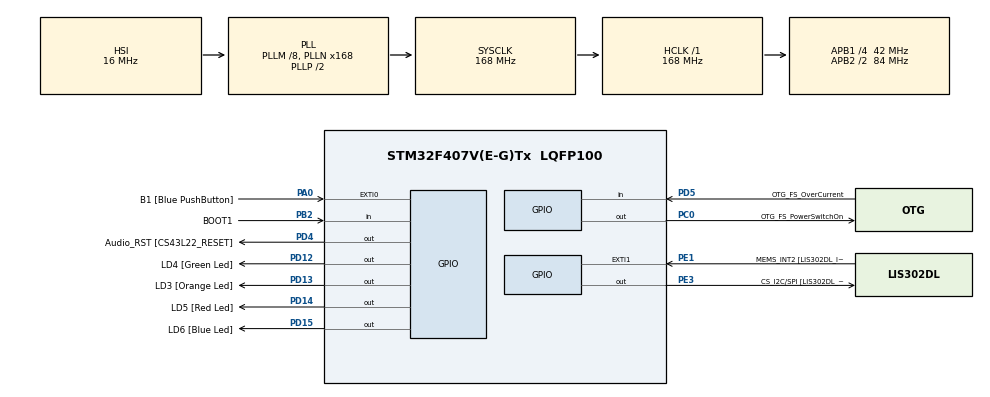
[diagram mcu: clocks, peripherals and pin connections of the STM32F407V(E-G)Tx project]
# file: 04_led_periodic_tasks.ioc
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Mcu.Family=STM32F4
Mcu.Name=STM32F407V(E-G)Tx
Mcu.Package=LQFP100
NVIC.PriorityGroup=NVIC_PRIORITYGROUP_4
NVIC.TIM6_DAC_IRQn=true\:0\:0\:false\:false\:true\:false\:true\:true
NVIC.TimeBase=TIM6_DAC_IRQn
NVIC.TimeBaseIP=TIM6
PA0-WKUP.GPIO_Label=B1 [Blue PushButton]
PA0-WKUP.Signal=GPXTI0
PA10.GPIO_Label=OTG_FS_ID
PA10.GPIO_Mode=GPIO_MODE_AF_PP
PA10.GPIO_PuPd=GPIO_NOPULL
PA10.GPIO_Speed=GPIO_SPEED_FREQ_LOW
PA10.Signal=USB_OTG_FS_ID
PA11.GPIO_Label=OTG_FS_DM
PA11.GPIO_Mode=GPIO_MODE_AF_PP
PA11.GPIO_PuPd=GPIO_NOPULL
PA11.GPIO_Speed=GPIO_SPEED_FREQ_LOW
PA11.Signal=USB_OTG_FS_DM
PA12.GPIO_Label=OTG_FS_DP
PA12.GPIO_Mode=GPIO_MODE_AF_PP
PA12.GPIO_PuPd=GPIO_NOPULL
PA12.GPIO_Speed=GPIO_SPEED_FREQ_LOW
PA12.Signal=USB_OTG_FS_DP
PA13.GPIO_Label=SWDIO
PA13.Signal=SYS_JTMS-SWDIO
PA14.GPIO_Label=SWCLK
PA14.Signal=SYS_JTCK-SWCLK
PA4.GPIO_Label=I2S3_WS [CS43L22_LRCK]
PA4.GPIO_Mode=GPIO_MODE_AF_PP
PA4.GPIO_PuPd=GPIO_NOPULL
PA4.GPIO_Speed=GPIO_SPEED_FREQ_LOW
PA4.Signal=I2S3_WS
PA5.GPIO_Label=SPI1_SCK [LIS302DL_SCL/SPC]
PA5.GPIO_Mode=GPIO_MODE_AF_PP
PA5.GPIO_PuPd=GPIO_NOPULL
PA5.GPIO_Speed=GPIO_SPEED_FREQ_LOW
PA5.Signal=SPI1_SCK
PA6.GPIO_Label=SPI1_MISO [LIS302DL_SDO]
PA6.GPIO_Mode=GPIO_MODE_AF_PP
PA6.GPIO_PuPd=GPIO_NOPULL
PA6.GPIO_Speed=GPIO_SPEED_FREQ_LOW
PA6.Signal=SPI1_MISO
PA7.GPIO_Label=SPI1_MOSI [LIS302DL_SDA/SDI/SDO]
PA7.GPIO_Mode=GPIO_MODE_AF_PP
PA7.GPIO_PuPd=GPIO_NOPULL
PA7.GPIO_Speed=GPIO_SPEED_FREQ_LOW
PA7.Signal=SPI1_MOSI
PA9.GPIO_Label=VBUS_FS
PA9.GPIO_Mode=GPIO_MODE_INPUT
PA9.GPIO_PuPd=GPIO_NOPULL
PA9.Signal=USB_OTG_FS_VBUS
PB10.GPIO_Label=CLK_IN [MP45DT02_CLK]
PB10.GPIO_Mode=GPIO_MODE_AF_PP
PB10.GPIO_PuPd=GPIO_NOPULL
PB10.GPIO_Speed=GPIO_SPEED_FREQ_LOW
PB10.Signal=I2S2_CK
PB2.GPIO_Label=BOOT1
PB2.GPIO_Mode=GPIO_MODE_INPUT
PB2.GPIO_PuPd=GPIO_NOPULL
PB2.Signal=GPIO_Input
PB3.GPIO_Label=SWO
PB3.Signal=SYS_JTDO-SWO
PB6.GPIO_Label=Audio_SCL [CS43L22_SCL]
PB6.GPIO_Mode=GPIO_MODE_AF_OD
PB6.GPIO_PuPd=GPIO_NOPULL
PB6.GPIO_Speed=GPIO_SPEED_FREQ_LOW
PB6.Signal=I2C1_SCL
PB9.GPIO_Label=Audio_SDA [CS43L22_SDA]
PB9.GPIO_Mode=GPIO_MODE_AF_OD
PB9.GPIO_PuPd=GPIO_NOPULL
PB9.GPIO_Speed=GPIO_SPEED_FREQ_LOW
PB9.Signal=I2C1_SDA
PC0.GPIO_Label=OTG_FS_PowerSwitchOn
PC0.GPIO_PuPd=GPIO_NOPULL
PC0.GPIO_Speed=GPIO_SPEED_FREQ_LOW
PC0.PinState=GPIO_PIN_SET
PC0.Signal=GPIO_Output
PC10.GPIO_Label=I2S3_SCK [CS43L22_SCLK]
PC10.GPIO_Mode=GPIO_MODE_AF_PP
PC10.GPIO_PuPd=GPIO_NOPULL
PC10.GPIO_Speed=GPIO_SPEED_FREQ_LOW
PC10.Signal=I2S3_CK
PC12.GPIO_Label=I2S3_SD [CS43L22_SDIN]
PC12.GPIO_Mode=GPIO_MODE_AF_PP
PC12.GPIO_PuPd=GPIO_NOPULL
PC12.GPIO_Speed=GPIO_SPEED_FREQ_LOW
PC12.Signal=I2S3_SD
PC14-OSC32_IN.GPIO_Label=PC14-OSC32_IN
PC14-OSC32_IN.Signal=RCC_OSC32_IN
PC15-OSC32_OUT.GPIO_Label=PC15-OSC32_OUT
PC15-OSC32_OUT.Signal=RCC_OSC32_OUT
PC3.GPIO_Label=PDM_OUT [MP45DT02_DOUT]
PC3.GPIO_Mode=GPIO_MODE_AF_PP
PC3.GPIO_PuPd=GPIO_NOPULL
PC3.GPIO_Speed=GPIO_SPEED_FREQ_LOW
PC3.Signal=I2S2_SD
PC7.GPIO_Label=I2S3_MCK [CS43L22_MCLK]
PC7.GPIO_Mode=GPIO_MODE_AF_PP
PC7.GPIO_PuPd=GPIO_NOPULL
PC7.GPIO_Speed=GPIO_SPEED_FREQ_LOW
PC7.Signal=I2S3_MCK
PD12.GPIO_Label=LD4 [Green Led]
PD12.GPIO_PuPd=GPIO_NOPULL
PD12.GPIO_Speed=GPIO_SPEED_FREQ_LOW
PD12.Signal=GPIO_Output
PD13.GPIO_Label=LD3 [Orange Led]
PD13.GPIO_PuPd=GPIO_NOPULL
PD13.GPIO_Speed=GPIO_SPEED_FREQ_LOW
PD13.Signal=GPIO_Output
PD14.GPIO_Label=LD5 [Red Led]
PD14.GPIO_PuPd=GPIO_NOPULL
PD14.GPIO_Speed=GPIO_SPEED_FREQ_LOW
PD14.Signal=GPIO_Output
PD15.GPIO_Label=LD6 [Blue Led]
PD15.GPIO_PuPd=GPIO_NOPULL
PD15.GPIO_Speed=GPIO_SPEED_FREQ_LOW
PD15.Signal=GPIO_Output
PD4.GPIO_Label=Audio_RST [CS43L22_RESET]
PD4.GPIO_PuPd=GPIO_NOPULL
PD4.GPIO_Speed=GPIO_SPEED_FREQ_LOW
PD4.Signal=GPIO_Output
PD5.GPIO_Label=OTG_FS_OverCurrent
PD5.GPIO_Mode=GPIO_MODE_INPUT
PD5.GPIO_PuPd=GPIO_NOPULL
PD5.Signal=GPIO_Input
PE1.GPIO_Label=MEMS_INT2 [LIS302DL_INT2]
PE1.GPIO_ModeDefaultEXTI=GPIO_MODE_EVT_RISING
PE1.GPIO_PuPd=GPIO_NOPULL
PE1.Signal=GPXTI1
PE3.GPIO_Label=CS_I2C/SPI [LIS302DL_CS_I2C/SPI]
PE3.GPIO_PuPd=GPIO_NOPULL
PE3.GPIO_Speed=GPIO_SPEED_FREQ_LOW
PE3.Signal=GPIO_Output
PH0-OSC_IN.GPIO_Label=PH0-OSC_IN
PH0-OSC_IN.Signal=RCC_OSC_IN
PH1-OSC_OUT.GPIO_Label=PH1-OSC_OUT
PH1-OSC_OUT.Signal=RCC_OSC_OUT
ProjectManager.HeapSize=0x200
ProjectManager.StackSize=0x400
ProjectManager.TargetToolchain=STM32CubeIDE
RCC.48MHZClocksFreq_Value=48000000
RCC.AHBFreq_Value=168000000
RCC.APB1CLKDivider=RCC_HCLK_DIV4
RCC.APB1Freq_Value=42000000
RCC.APB1TimFreq_Value=84000000
RCC.APB2CLKDivider=RCC_HCLK_DIV2
RCC.APB2Freq_Value=84000000
RCC.APB2TimFreq_Value=168000000
RCC.CortexFreq_Value=168000000
RCC.HCLKFreq_Value=168000000
RCC.HSE_VALUE=8000000
RCC.HSI_VALUE=16000000
RCC.LSE_VALUE=32768
RCC.PLLM=8
RCC.PLLN=168
RCC.PLLQ=7
RCC.SYSCLKFreq_VALUE=168000000
RCC.SYSCLKSource=RCC_SYSCLKSOURCE_PLLCLK
RCC.VCOOutputFreq_Value=336000000
VP_SYS_VS_tim6.Mode=TIM6
board=STM32F407G-DISC1

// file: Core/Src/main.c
/* USER CODE BEGIN Header */
/**
  ******************************************************************************
  * @file           : main.c
  * @brief          : Main program body
  ******************************************************************************
  * @attention
  *
  * Copyright (c) 2024 STMicroelectronics.
  * All rights reserved.
  *
  * This software is licensed under terms that can be found in the LICENSE file
  * in the root directory of this software component.
  * If no LICENSE file comes with this software, it is provided AS-IS.
  *
  ******************************************************************************
  */
/* USER CODE END Header */
#include "main.h"

/* USER CODE BEGIN Includes */
#include "FreeRTOS.h"
#include "task.h"
/* USER CODE END Includes */

/* USER CODE BEGIN PD */
#define DWT_CTRL             (*(volatile uint32_t*)0xE0001000)
/* USER CODE END PD */

void SystemClock_Config(void);
static void MX_GPIO_Init(void);
/* USER CODE BEGIN PFP */

static void led_green_handler(void* parameters);
static void led_orange_handler(void* parameters);
static void led_red_handler(void* parameters);

extern void SEGGER_UART_init(uint32_t);
/* USER CODE END PFP */

int main(void)
{
  /* USER CODE BEGIN 1 */
  TaskHandle_t task1_handle;
  TaskHandle_t task2_handle;
  TaskHandle_t task3_handle;

  BaseType_t status;
  /* USER CODE END 1 */

  /* MCU Configuration--------------------------------------------------------*/

  /* Reset of all peripherals, Initializes the Flash interface and the Systick. */
  HAL_Init();

  /* Configure the system clock */
  SystemClock_Config();

  /* Initialize all configured peripherals */
  MX_GPIO_Init();
  /* USER CODE BEGIN 2 */

  SEGGER_UART_init(250000);

  // Enable the CYCCNT counter register - For SystemView Timestamp
  // Cortex-M4 Techinal Reference Manual page: 91
  DWT_CTRL |= (1 << 0);

  SEGGER_SYSVIEW_Conf();

  status = xTaskCreate(led_green_handler, "LED Green task", 200, NULL, 2, &task1_handle);
  configASSERT(status==pdPASS);

  status = xTaskCreate(led_red_handler, "LED Red task", 200, NULL, 2, &task2_handle);
  configASSERT(status==pdPASS);

  status = xTaskCreate(led_orange_handler, "LED Orange task", 200, NULL, 2, &task3_handle);
  configASSERT(status==pdPASS);

  vTaskStartScheduler();

  /* USER CODE END 2 */

  /* Infinite loop */
  while (1)
  {

  }
}

void SystemClock_Config(void)
{
  RCC_OscInitTypeDef RCC_OscInitStruct = {0};
  RCC_ClkInitTypeDef RCC_ClkInitStruct = {0};

  /** Configure the main internal regulator output voltage
  */
  __HAL_RCC_PWR_CLK_ENABLE();
  __HAL_PWR_VOLTAGESCALING_CONFIG(PWR_REGULATOR_VOLTAGE_SCALE1);

  /** Initializes the RCC Oscillators according to the specified parameters
  * in the RCC_OscInitTypeDef structure.
  */
  RCC_OscInitStruct.OscillatorType = RCC_OSCILLATORTYPE_HSI;
  RCC_OscInitStruct.HSIState = RCC_HSI_ON;
  RCC_OscInitStruct.HSICalibrationValue = RCC_HSICALIBRATION_DEFAULT;
  RCC_OscInitStruct.PLL.PLLState = RCC_PLL_ON;
  RCC_OscInitStruct.PLL.PLLSource = RCC_PLLSOURCE_HSI;
  RCC_OscInitStruct.PLL.PLLM = 8;
  RCC_OscInitStruct.PLL.PLLN = 168;
  RCC_OscInitStruct.PLL.PLLP = RCC_PLLP_DIV2;
  RCC_OscInitStruct.PLL.PLLQ = 7;
  if (HAL_RCC_OscConfig(&RCC_OscInitStruct) != HAL_OK)
  {
    Error_Handler();
  }

  /** Initializes the CPU, AHB and APB buses clocks
  */
  RCC_ClkInitStruct.ClockType = RCC_CLOCKTYPE_HCLK|RCC_CLOCKTYPE_SYSCLK
                              |RCC_CLOCKTYPE_PCLK1|RCC_CLOCKTYPE_PCLK2;
  RCC_ClkInitStruct.SYSCLKSource = RCC_SYSCLKSOURCE_PLLCLK;
  RCC_ClkInitStruct.AHBCLKDivider = RCC_SYSCLK_DIV1;
  RCC_ClkInitStruct.APB1CLKDivider = RCC_HCLK_DIV4;
  RCC_ClkInitStruct.APB2CLKDivider = RCC_HCLK_DIV2;

  if (HAL_RCC_ClockConfig(&RCC_ClkInitStruct, FLASH_LATENCY_5) != HAL_OK)
  {
    Error_Handler();
  }
}

static void MX_GPIO_Init(void)
{
  GPIO_InitTypeDef GPIO_InitStruct = {0};

  /* GPIO Ports Clock Enable */
  __HAL_RCC_GPIOE_CLK_ENABLE();
  __HAL_RCC_GPIOC_CLK_ENABLE();
  __HAL_RCC_GPIOH_CLK_ENABLE();
  __HAL_RCC_GPIOA_CLK_ENABLE();
  __HAL_RCC_GPIOB_CLK_ENABLE();
  __HAL_RCC_GPIOD_CLK_ENABLE();

  /*Configure GPIO pin Output Level */
  HAL_GPIO_WritePin(CS_I2C_SPI_GPIO_Port, CS_I2C_SPI_Pin, GPIO_PIN_RESET);

  /*Configure GPIO pin Output Level */
  HAL_GPIO_WritePin(OTG_FS_PowerSwitchOn_GPIO_Port, OTG_FS_PowerSwitchOn_Pin, GPIO_PIN_SET);

  /*Configure GPIO pin Output Level */
  HAL_GPIO_WritePin(GPIOD, LD4_Pin|LD3_Pin|LD5_Pin|LD6_Pin
                          |Audio_RST_Pin, GPIO_PIN_RESET);

  /*Configure GPIO pin : CS_I2C_SPI_Pin */
  GPIO_InitStruct.Pin = CS_I2C_SPI_Pin;
  GPIO_InitStruct.Mode = GPIO_MODE_OUTPUT_PP;
  GPIO_InitStruct.Pull = GPIO_NOPULL;
  GPIO_InitStruct.Speed = GPIO_SPEED_FREQ_LOW;
  HAL_GPIO_Init(CS_I2C_SPI_GPIO_Port, &GPIO_InitStruct);

  /*Configure GPIO pin : OTG_FS_PowerSwitchOn_Pin */
  GPIO_InitStruct.Pin = OTG_FS_PowerSwitchOn_Pin;
  GPIO_InitStruct.Mode = GPIO_MODE_OUTPUT_PP;
  GPIO_InitStruct.Pull = GPIO_NOPULL;
  GPIO_InitStruct.Speed = GPIO_SPEED_FREQ_LOW;
  HAL_GPIO_Init(OTG_FS_PowerSwitchOn_GPIO_Port, &GPIO_InitStruct);

  /*Configure GPIO pin : PDM_OUT_Pin */
  GPIO_InitStruct.Pin = PDM_OUT_Pin;
  GPIO_InitStruct.Mode = GPIO_MODE_AF_PP;
  GPIO_InitStruct.Pull = GPIO_NOPULL;
  GPIO_InitStruct.Speed = GPIO_SPEED_FREQ_LOW;
  GPIO_InitStruct.Alternate = GPIO_AF5_SPI2;
  HAL_GPIO_Init(PDM_OUT_GPIO_Port, &GPIO_InitStruct);

  /*Configure GPIO pin : B1_Pin */
  GPIO_InitStruct.Pin = B1_Pin;
  GPIO_InitStruct.Mode = GPIO_MODE_IT_RISING;
  GPIO_InitStruct.Pull = GPIO_NOPULL;
  HAL_GPIO_Init(B1_GPIO_Port, &GPIO_InitStruct);

  /*Configure GPIO pin : I2S3_WS_Pin */
  GPIO_InitStruct.Pin = I2S3_WS_Pin;
  GPIO_InitStruct.Mode = GPIO_MODE_AF_PP;
  GPIO_InitStruct.Pull = GPIO_NOPULL;
  GPIO_InitStruct.Speed = GPIO_SPEED_FREQ_LOW;
  GPIO_InitStruct.Alternate = GPIO_AF6_SPI3;
  HAL_GPIO_Init(I2S3_WS_GPIO_Port, &GPIO_InitStruct);

  /*Configure GPIO pins : SPI1_SCK_Pin SPI1_MISO_Pin SPI1_MOSI_Pin */
  GPIO_InitStruct.Pin = SPI1_SCK_Pin|SPI1_MISO_Pin|SPI1_MOSI_Pin;
  GPIO_InitStruct.Mode = GPIO_MODE_AF_PP;
  GPIO_InitStruct.Pull = GPIO_NOPULL;
  GPIO_InitStruct.Speed = GPIO_SPEED_FREQ_LOW;
  GPIO_InitStruct.Alternate = GPIO_AF5_SPI1;
  HAL_GPIO_Init(GPIOA, &GPIO_InitStruct);

  /*Configure GPIO pin : BOOT1_Pin */
  GPIO_InitStruct.Pin = BOOT1_Pin;
  GPIO_InitStruct.Mode = GPIO_MODE_INPUT;
  GPIO_InitStruct.Pull = GPIO_NOPULL;
  HAL_GPIO_Init(BOOT1_GPIO_Port, &GPIO_InitStruct);

  /*Configure GPIO pin : CLK_IN_Pin */
  GPIO_InitStruct.Pin = CLK_IN_Pin;
  GPIO_InitStruct.Mode = GPIO_MODE_AF_PP;
  GPIO_InitStruct.Pull = GPIO_NOPULL;
  GPIO_InitStruct.Speed = GPIO_SPEED_FREQ_LOW;
  GPIO_InitStruct.Alternate = GPIO_AF5_SPI2;
  HAL_GPIO_Init(CLK_IN_GPIO_Port, &GPIO_InitStruct);

  /*Configure GPIO pins : LD4_Pin LD3_Pin LD5_Pin LD6_Pin
                           Audio_RST_Pin */
  GPIO_InitStruct.Pin = LD4_Pin|LD3_Pin|LD5_Pin|LD6_Pin
                          |Audio_RST_Pin;
  GPIO_InitStruct.Mode = GPIO_MODE_OUTPUT_PP;
  GPIO_InitStruct.Pull = GPIO_NOPULL;
  GPIO_InitStruct.Speed = GPIO_SPEED_FREQ_LOW;
  HAL_GPIO_Init(GPIOD, &GPIO_InitStruct);

  /*Configure GPIO pins : I2S3_MCK_Pin I2S3_SCK_Pin I2S3_SD_Pin */
  GPIO_InitStruct.Pin = I2S3_MCK_Pin|I2S3_SCK_Pin|I2S3_SD_Pin;
  GPIO_InitStruct.Mode = GPIO_MODE_AF_PP;
  GPIO_InitStruct.Pull = GPIO_NOPULL;
  GPIO_InitStruct.Speed = GPIO_SPEED_FREQ_LOW;
  GPIO_InitStruct.Alternate = GPIO_AF6_SPI3;
  HAL_GPIO_Init(GPIOC, &GPIO_InitStruct);

  /*Configure GPIO pin : VBUS_FS_Pin */
  GPIO_InitStruct.Pin = VBUS_FS_Pin;
  GPIO_InitStruct.Mode = GPIO_MODE_INPUT;
  GPIO_InitStruct.Pull = GPIO_NOPULL;
  HAL_GPIO_Init(VBUS_FS_GPIO_Port, &GPIO_InitStruct);

  /*Configure GPIO pins : OTG_FS_ID_Pin OTG_FS_DM_Pin OTG_FS_DP_Pin */
  GPIO_InitStruct.Pin = OTG_FS_ID_Pin|OTG_FS_DM_Pin|OTG_FS_DP_Pin;
  GPIO_InitStruct.Mode = GPIO_MODE_AF_PP;
  GPIO_InitStruct.Pull = GPIO_NOPULL;
  GPIO_InitStruct.Speed = GPIO_SPEED_FREQ_LOW;
  GPIO_InitStruct.Alternate = GPIO_AF10_OTG_FS;
  HAL_GPIO_Init(GPIOA, &GPIO_InitStruct);

  /*Configure GPIO pin : OTG_FS_OverCurrent_Pin */
  GPIO_InitStruct.Pin = OTG_FS_OverCurrent_Pin;
  GPIO_InitStruct.Mode = GPIO_MODE_INPUT;
  GPIO_InitStruct.Pull = GPIO_NOPULL;
  HAL_GPIO_Init(OTG_FS_OverCurrent_GPIO_Port, &GPIO_InitStruct);

  /*Configure GPIO pins : Audio_SCL_Pin Audio_SDA_Pin */
  GPIO_InitStruct.Pin = Audio_SCL_Pin|Audio_SDA_Pin;
  GPIO_InitStruct.Mode = GPIO_MODE_AF_OD;
  GPIO_InitStruct.Pull = GPIO_NOPULL;
  GPIO_InitStruct.Speed = GPIO_SPEED_FREQ_LOW;
  GPIO_InitStruct.Alternate = GPIO_AF4_I2C1;
  HAL_GPIO_Init(GPIOB, &GPIO_InitStruct);

  /*Configure GPIO pin : MEMS_INT2_Pin */
  GPIO_InitStruct.Pin = MEMS_INT2_Pin;
  GPIO_InitStruct.Mode = GPIO_MODE_EVT_RISING;
  GPIO_InitStruct.Pull = GPIO_NOPULL;
  HAL_GPIO_Init(MEMS_INT2_GPIO_Port, &GPIO_InitStruct);

}

/* USER CODE BEGIN 4 */
static void led_green_handler(void* parameters)
{
  TickType_t last_wake_time = xTaskGetTickCount();
  while (1)
  {
//	SEGGER_SYSVIEW_PrintfTarget("Toggling green LED");
	HAL_GPIO_TogglePin(GPIOD, LED_GREEN_PIN);
	vTaskDelayUntil(&last_wake_time, pdMS_TO_TICKS(1000));

  }
}

static void led_orange_handler(void* parameters)
{
  TickType_t last_wake_time = xTaskGetTickCount();
  while (1)
  {
//	SEGGER_SYSVIEW_PrintfTarget("Toggling orange LED");
	HAL_GPIO_TogglePin(GPIOD, LED_ORANGE_PIN);
	vTaskDelayUntil(&last_wake_time, pdMS_TO_TICKS(800));
  }
}

static void led_red_handler(void* parameters)
{
  TickType_t last_wake_time = xTaskGetTickCount();
  while (1)
  {
//	SEGGER_SYSVIEW_PrintfTarget("Toggling red LED");
	HAL_GPIO_TogglePin(GPIOD, LED_RED_PIN);
	vTaskDelayUntil(&last_wake_time, pdMS_TO_TICKS(400));
  }
}
/* USER CODE END 4 */

void HAL_TIM_PeriodElapsedCallback(TIM_HandleTypeDef *htim)
{
  if (htim->Instance == TIM6) {
    HAL_IncTick();
  }
}

void Error_Handler(void)
{
  __disable_irq();
  while (1)
  {
  }
}
